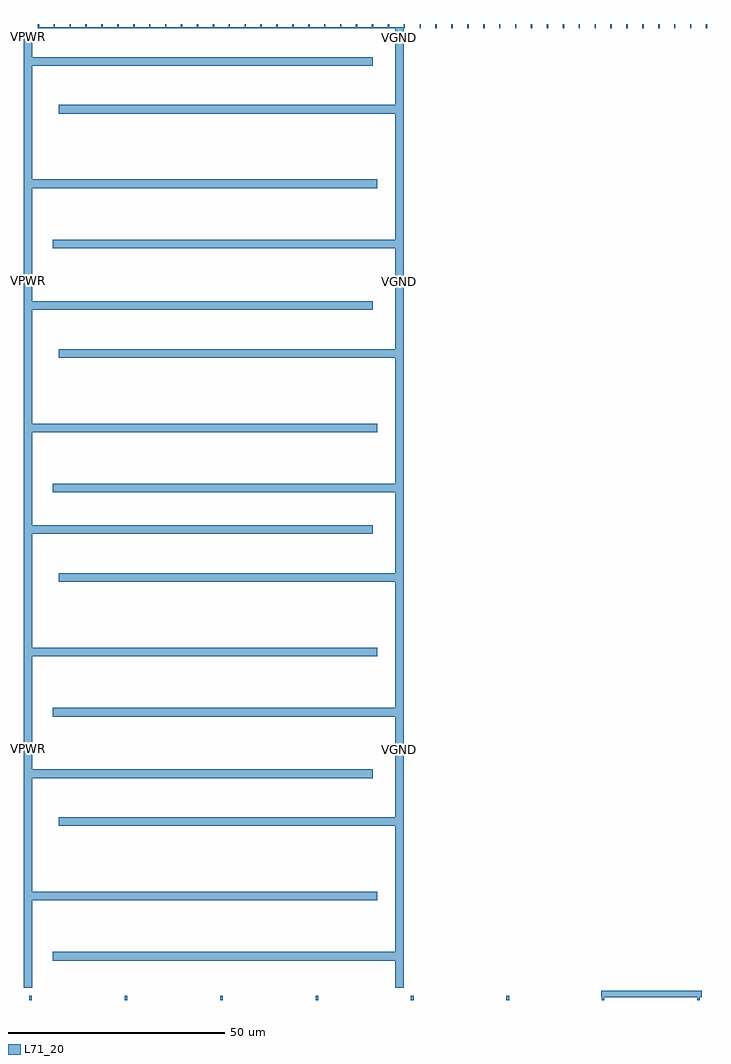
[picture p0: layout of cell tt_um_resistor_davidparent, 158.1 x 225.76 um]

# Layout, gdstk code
import gdstk
lib = gdstk.Library(unit=1e-6, precision=1e-09)
def R(c, l, rs):  # rectangles x0, y0, x1, y1
    for r in rs: c.add(gdstk.rectangle(r[:2], r[2:], *l))
def A(c, l, x, y, w, h, nx, ny, dx, dy):  # array of equal rectangles
    R(c, l, [(x+i*dx, y+j*dy, x+i*dx+w, y+j*dy+h) for i in range(nx) for j in range(ny)])
L71_20 = (71, 20)

tt_block_1x2_pg_ana = lib.new_cell('tt_block_1x2_pg_ana')
A(tt_block_1x2_pg_ana, L71_20, 2, 0, 0.6, 1, 8, 1, 22.08, 0)
A(tt_block_1x2_pg_ana, L71_20, 3.99, 224.76, 0.3, 1, 43, 1, 3.68, 0)

tt_um_resistor_davidpare = lib.new_cell('tt_um_resistor_davidparent')
R(tt_um_resistor_davidpare, L71_20, [(134.31,0.65,157.6,2.175), (86.87,57.075,88.385,58.81), (1.08,57.515,2.385,58.67), (86.87,165.375,88.385,167.11), (1.08,165.815,2.385,166.97), (86.87,221.84,88.385,223.575), (1.08,222.28,2.385,223.435)])
tt_um_resistor_davidpare.add(gdstk.FlexPath([(87.63,10.095),(7.505,10.095)], 2, ends=(1, 0), simple_path=True, layer=71, datatype=20))  # L71_20
tt_um_resistor_davidpare.add(gdstk.FlexPath([(1.74,24.04),(82.495,24.04)], 2, ends=(1, 0), simple_path=True, layer=71, datatype=20))  # L71_20
tt_um_resistor_davidpare.add(gdstk.FlexPath([(1.74,52.335),(81.46,52.335)], 2, ends=(1, 0), simple_path=True, layer=71, datatype=20))  # L71_20
tt_um_resistor_davidpare.add(gdstk.FlexPath([(87.63,41.255),(8.86,41.255)], 2, ends=(1, 0), simple_path=True, layer=71, datatype=20))  # L71_20
tt_um_resistor_davidpare.add(gdstk.FlexPath([(87.63,66.56),(7.505,66.56)], 2, ends=(1, 0), simple_path=True, layer=71, datatype=20))  # L71_20
tt_um_resistor_davidpare.add(gdstk.FlexPath([(1.74,80.505),(82.495,80.505)], 2, ends=(1, 0), simple_path=True, layer=71, datatype=20))  # L71_20
tt_um_resistor_davidpare.add(gdstk.FlexPath([(1.74,108.8),(81.46,108.8)], 2, ends=(1, 0), simple_path=True, layer=71, datatype=20))  # L71_20
tt_um_resistor_davidpare.add(gdstk.FlexPath([(87.63,97.72),(8.86,97.72)], 2, ends=(1, 0), simple_path=True, layer=71, datatype=20))  # L71_20
tt_um_resistor_davidpare.add(gdstk.FlexPath([(87.63,118.395),(7.505,118.395)], 2, ends=(1, 0), simple_path=True, layer=71, datatype=20))  # L71_20
tt_um_resistor_davidpare.add(gdstk.FlexPath([(1.74,132.34),(82.495,132.34)], 2, ends=(1, 0), simple_path=True, layer=71, datatype=20))  # L71_20
tt_um_resistor_davidpare.add(gdstk.FlexPath([(1.74,160.635),(81.46,160.635)], 2, ends=(1, 0), simple_path=True, layer=71, datatype=20))  # L71_20
tt_um_resistor_davidpare.add(gdstk.FlexPath([(87.63,149.555),(8.86,149.555)], 2, ends=(1, 0), simple_path=True, layer=71, datatype=20))  # L71_20
tt_um_resistor_davidpare.add(gdstk.FlexPath([(87.63,174.86),(7.505,174.86)], 2, ends=(1, 0), simple_path=True, layer=71, datatype=20))  # L71_20
tt_um_resistor_davidpare.add(gdstk.FlexPath([(87.63,174.86),(87.63,206.02)], 2, ends="extended", simple_path=True, layer=71, datatype=20))  # L71_20
tt_um_resistor_davidpare.add(gdstk.FlexPath([(1.74,188.805),(82.495,188.805)], 2, ends=(1, 0), simple_path=True, layer=71, datatype=20))  # L71_20
tt_um_resistor_davidpare.add(gdstk.FlexPath([(1.74,188.805),(1.74,217.1)], 2, ends="extended", simple_path=True, layer=71, datatype=20))  # L71_20
tt_um_resistor_davidpare.add(gdstk.FlexPath([(1.74,217.1),(81.46,217.1)], 2, ends=(1, 0), simple_path=True, layer=71, datatype=20))  # L71_20
tt_um_resistor_davidpare.add(gdstk.FlexPath([(87.63,206.02),(8.86,206.02)], 2, ends=(1, 0), simple_path=True, layer=71, datatype=20))  # L71_20
tt_um_resistor_davidpare.add(gdstk.FlexPath([(87.63,206.02),(87.63,223.775)], 2, ends=(1, 0), simple_path=True, layer=71, datatype=20))  # L71_20
tt_um_resistor_davidpare.add(gdstk.FlexPath([(1.74,217.1),(1.74,223.775)], 2, ends=(1, 0), simple_path=True, layer=71, datatype=20))  # L71_20
tt_um_resistor_davidpare.add(gdstk.FlexPath([(35.555,224.9),(88.76,224.9)], 0.3, ends=(0.15, 0), simple_path=True, layer=71, datatype=20))  # L71_20
tt_um_resistor_davidpare.add(gdstk.FlexPath([(87.625,222.785),(87.625,223.885)], 2, ends=(0, 1), simple_path=True, layer=71, datatype=20))  # L71_20
tt_um_resistor_davidpare.add(gdstk.FlexPath([(4.01,224.9),(35.555,224.9)], 0.3, ends=(0, 0.15), simple_path=True, layer=71, datatype=20))  # L71_20
tt_um_resistor_davidpare.add(gdstk.FlexPath([(87.63,2.85),(87.63,174.86)], 2, ends=(0, 1), simple_path=True, layer=71, datatype=20))  # L71_20
tt_um_resistor_davidpare.add(gdstk.FlexPath([(1.74,2.85),(1.74,188.805)], 2, ends=(0, 1), simple_path=True, layer=71, datatype=20))  # L71_20
tt_um_resistor_davidpare.add(gdstk.Reference(tt_block_1x2_pg_ana, (-0.01,-0.01)))
tt_um_resistor_davidpare.add(gdstk.Label('VPWR', (1.77,58.115), layer=71, texttype=16))
tt_um_resistor_davidpare.add(gdstk.Label('VGND', (87.635,57.94), layer=71, texttype=16))
tt_um_resistor_davidpare.add(gdstk.Label('VPWR', (1.77,166.415), layer=71, texttype=16))
tt_um_resistor_davidpare.add(gdstk.Label('VGND', (87.635,166.24), layer=71, texttype=16))
tt_um_resistor_davidpare.add(gdstk.Label('VPWR', (1.77,222.88), layer=71, texttype=16))
tt_um_resistor_davidpare.add(gdstk.Label('VGND', (87.635,222.705), layer=71, texttype=16))

lib.write_gds('tt_um_resistor_davidparent.gds')
